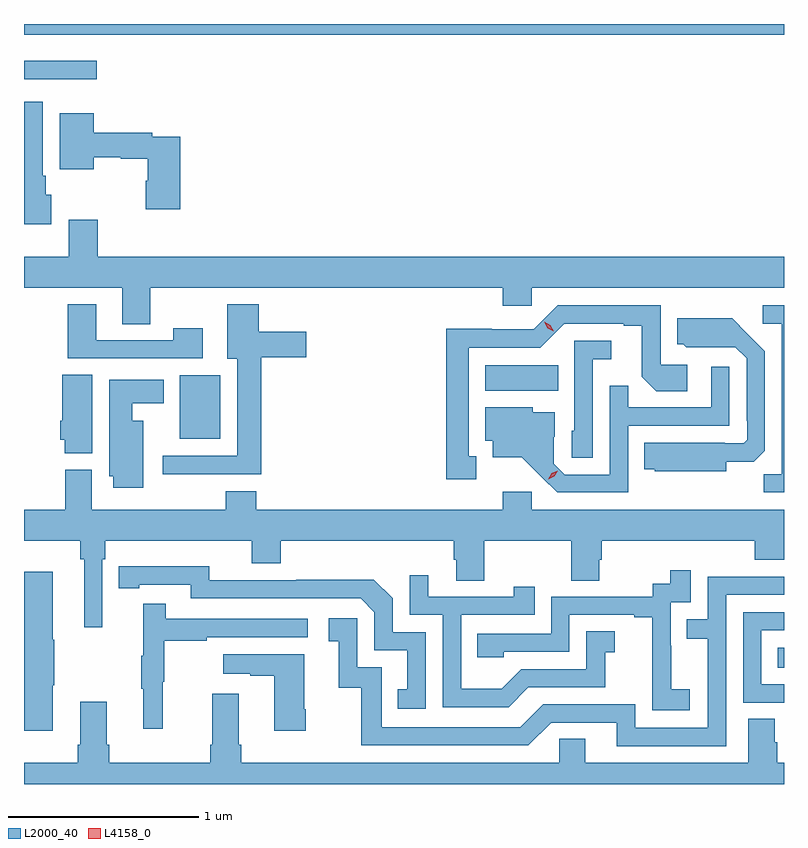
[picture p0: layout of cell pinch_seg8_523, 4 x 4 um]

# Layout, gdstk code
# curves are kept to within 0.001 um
import gdstk
lib = gdstk.Library(unit=1e-6, precision=1e-09)
def R(c, l, rs):  # rectangles x0, y0, x1, y1
    for r in rs: c.add(gdstk.rectangle(r[:2], r[2:], *l))
def P(c, l, *ps):  # polygons
    for p in ps: c.add(gdstk.Polygon(p, *l))
L2000_40 = (2000, 40)
L4158_0 = (4158, 0)

pinch_seg8_523 = lib.new_cell('pinch_seg8_523')
R(pinch_seg8_523, L2000_40, [(139.576,1107.842,139.61,1107.946), (136.43,1109.045,136.642,1109.38), (138.038,1109.3,138.422,1109.434), (135.61,1110.939,135.994,1111.036), (135.61,1111.172,139.61,1111.229)])
P(pinch_seg8_523, L2000_40, [(135.754,1110.33),(135.724,1110.33),(135.724,1110.43),(135.709,1110.43),(135.709,1110.82),(135.61,1110.82),(135.61,1110.176),(135.754,1110.176)],
  [(136.433,1110.636),(136.286,1110.636),(136.286,1110.656),(135.976,1110.656),(135.976,1110.76),(135.797,1110.76),(135.797,1110.464),(135.976,1110.464),(135.976,1110.528),(136.119,1110.528),(136.119,1110.52),(136.262,1110.52),(136.262,1110.405),(136.25,1110.405),(136.25,1110.255),(136.433,1110.255)],
  [(135.998,1110.199),(135.845,1110.199),(135.845,1110.004),(135.61,1110.004),(135.61,1109.84),(136.127,1109.84),(136.127,1109.65),(136.275,1109.65),(136.275,1109.84),(138.131,1109.84),(138.131,1109.747),(138.282,1109.747),(138.282,1109.84),(139.61,1109.84),(139.61,1110.004),(135.998,1110.004)],
  [(136.859,1109.474),(137.095,1109.474),(137.095,1109.608),(136.846,1109.608),(136.846,1109.755),(136.679,1109.755),(136.679,1109.468),(136.733,1109.468),(136.733,1108.956),(136.341,1108.956),(136.341,1108.859),(136.859,1108.859)],
  [(136.552,1109.629),(136.396,1109.629),(136.396,1109.565),(135.991,1109.565),(135.991,1109.755),(135.839,1109.755),(135.839,1109.469),(136.552,1109.469)],
  [(139.61,1109.748),(139.497,1109.748),(139.497,1109.652),(139.599,1109.652),(139.599,1108.859),(139.504,1108.859),(139.504,1108.764),(139.61,1108.764)],
  [(137.989,1108.953),(137.95,1108.953),(137.95,1109.526),(138.327,1109.526),(138.453,1109.652),(138.767,1109.652),(138.767,1109.64),(138.861,1109.64),(138.861,1109.372),(138.937,1109.296),(139.102,1109.296),(139.102,1109.436),(138.96,1109.436),(138.96,1109.748),(138.42,1109.748),(138.294,1109.622),(138.072,1109.622),(138.072,1109.624),(137.832,1109.624),(137.832,1108.833),(137.989,1108.833)],
  [(139.306,1108.925),(139.45,1108.925),(139.509,1108.984),(139.509,1109.506),(139.337,1109.68),(139.049,1109.68),(139.049,1109.544),(139.08,1109.544),(139.096,1109.528),(139.353,1109.529),(139.413,1109.469),(139.413,1109.14),(139.416,1109.14),(139.416,1109.04),(139.398,1109.022),(139.298,1109.022),(139.298,1109.026),(138.874,1109.026),(138.874,1108.886),(138.93,1108.886),(138.93,1108.874),(139.306,1108.874)],
  [(138.603,1109.465),(138.7,1109.465),(138.7,1109.562),(138.507,1109.562),(138.507,1109.088),(138.492,1109.088),(138.492,1108.945),(138.603,1108.945)],
  [(138.789,1109.115),(139.323,1109.115),(139.323,1109.425),(139.227,1109.425),(139.227,1109.211),(138.791,1109.211),(138.791,1109.324),(138.693,1109.324),(138.693,1108.857),(138.456,1108.857),(138.399,1108.914),(138.399,1109.056),(138.403,1109.056),(138.403,1109.185),(138.288,1109.185),(138.288,1109.212),(138.038,1109.212),(138.038,1109.036),(138.077,1109.036),(138.077,1108.949),(138.229,1108.949),(138.416,1108.764),(138.789,1108.764)],
  [(135.97,1109.384),(135.812,1109.384),(135.812,1109.14),(135.8,1109.14),(135.8,1109.04),(135.824,1109.04),(135.824,1108.969),(135.97,1108.969)],
  [(136.237,1109.14),(136.18,1109.14),(136.18,1109.234),(136.345,1109.234),(136.345,1109.356),(136.058,1109.356),(136.058,1108.848),(136.079,1108.848),(136.079,1108.788),(136.237,1108.788)],
  [(136.961,1108.508),(137.873,1108.508),(137.873,1108.41),(137.885,1108.41),(137.885,1108.3),(138.033,1108.3),(138.033,1108.508),(138.49,1108.508),(138.49,1108.3),(138.637,1108.3),(138.637,1108.41),(138.65,1108.41),(138.65,1108.508),(139.457,1108.508),(139.457,1108.409),(139.61,1108.409),(139.61,1108.672),(138.282,1108.672),(138.282,1108.768),(138.131,1108.768),(138.131,1108.672),(136.832,1108.672),(136.832,1108.771),(136.672,1108.771),(136.672,1108.672),(135.967,1108.672),(135.967,1108.884),(135.827,1108.884),(135.827,1108.672),(135.61,1108.672),(135.61,1108.508),(135.907,1108.508),(135.907,1108.412),(135.926,1108.412),(135.926,1108.053),(136.023,1108.053),(136.023,1108.412),(136.037,1108.412),(136.037,1108.508),(136.808,1108.508),(136.808,1108.391),(136.961,1108.391)],
  [(137.724,1108.029),(137.55,1108.029),(137.55,1108.206),(137.452,1108.304),(137.044,1108.304),(137.044,1108.302),(136.584,1108.302),(136.584,1108.375),(136.108,1108.374),(136.108,1108.258),(136.216,1108.258),(136.216,1108.278),(136.488,1108.278),(136.488,1108.206),(137.382,1108.206),(137.454,1108.134),(137.454,1107.933),(137.627,1107.933),(137.627,1107.729),(137.578,1107.729),(137.578,1107.624),(137.724,1107.624)],
  [(139.114,1107.727),(139.016,1107.727),(139.016,1107.956),(139.014,1107.956),(139.014,1108.185),(139.119,1108.185),(139.119,1108.354),(139.011,1108.354),(139.011,1108.284),(138.918,1108.284),(138.918,1108.215),(138.384,1108.215),(138.384,1108.02),(137.995,1108.02),(137.995,1107.897),(138.135,1107.897),(138.135,1107.924),(138.48,1107.924),(138.48,1108.119),(138.821,1108.119),(138.821,1108.107),(138.917,1108.107),(138.917,1107.823),(138.916,1107.823),(138.916,1107.617),(139.114,1107.617)],
  [(135.76,1107.748),(135.768,1107.748),(135.768,1107.989),(135.76,1107.989),(135.76,1108.345),(135.61,1108.345),(135.61,1107.51),(135.76,1107.51)],
  [(138.265,1107.738),(138.669,1107.738),(138.669,1107.923),(138.718,1107.923),(138.718,1108.033),(138.57,1108.033),(138.57,1107.834),(138.228,1107.834),(138.124,1107.73),(137.91,1107.73),(137.91,1108.119),(138.299,1108.119),(138.299,1108.267),(138.188,1108.267),(138.188,1108.215),(137.737,1108.215),(137.737,1108.327),(137.64,1108.327),(137.64,1108.119),(137.814,1108.119),(137.814,1107.633),(138.16,1107.633)],
  [(139.305,1108.224),(139.61,1108.224),(139.61,1108.32),(139.209,1108.32),(139.209,1108.095),(139.099,1108.095),(139.099,1107.994),(139.209,1107.994),(139.209,1107.525),(138.828,1107.525),(138.828,1107.648),(138.342,1107.648),(138.222,1107.528),(137.493,1107.528),(137.493,1107.843),(137.364,1107.843),(137.364,1108.102),(137.214,1108.102),(137.214,1107.981),(137.267,1107.981),(137.267,1107.735),(137.385,1107.735),(137.385,1107.432),(138.264,1107.432),(138.384,1107.552),(138.731,1107.552),(138.731,1107.429),(139.305,1107.429)],
  [(136.34,1107.768),(136.348,1107.768),(136.348,1107.982),(136.571,1107.982),(136.571,1108.002),(137.104,1108.002),(137.104,1108.098),(136.355,1108.098),(136.355,1108.177),(136.238,1108.177),(136.238,1107.905),(136.227,1107.905),(136.227,1107.731),(136.238,1107.731),(136.238,1107.519),(136.34,1107.519)],
  [(139.61,1107.753),(139.491,1107.753),(139.491,1108.038),(139.61,1108.038),(139.61,1108.134),(139.395,1108.134),(139.395,1107.657),(139.61,1107.657)],
  [(137.094,1107.622),(137.086,1107.622),(137.086,1107.913),(136.659,1107.913),(136.659,1107.809),(136.802,1107.809),(136.802,1107.799),(136.928,1107.799),(136.928,1107.51),(137.094,1107.51)],
  [(139.61,1107.34),(139.574,1107.34),(139.574,1107.449),(139.56,1107.449),(139.56,1107.572),(139.421,1107.572),(139.421,1107.34),(138.565,1107.34),(138.565,1107.467),(138.426,1107.467),(138.426,1107.34),(136.754,1107.34),(136.754,1107.436),(136.741,1107.436),(136.741,1107.703),(136.601,1107.703),(136.601,1107.436),(136.589,1107.436),(136.589,1107.34),(136.058,1107.34),(136.058,1107.436),(136.045,1107.436),(136.045,1107.661),(135.905,1107.661),(135.905,1107.436),(135.893,1107.436),(135.893,1107.34),(135.61,1107.34),(135.61,1107.229),(139.61,1107.229)])
P(pinch_seg8_523, L4158_0, [(138.398,1109.611),(138.366,1109.629),(138.348,1109.662),(138.348,1109.662),(138.349,1109.662),(138.38,1109.643),(138.398,1109.611),(138.398,1109.611)],
  [(138.369,1108.834),(138.369,1108.834),(138.387,1108.864),(138.418,1108.879),(138.418,1108.879),(138.418,1108.879),(138.4,1108.849),(138.369,1108.834)])

lib.write_gds('pinch_seg8_523.gds')
